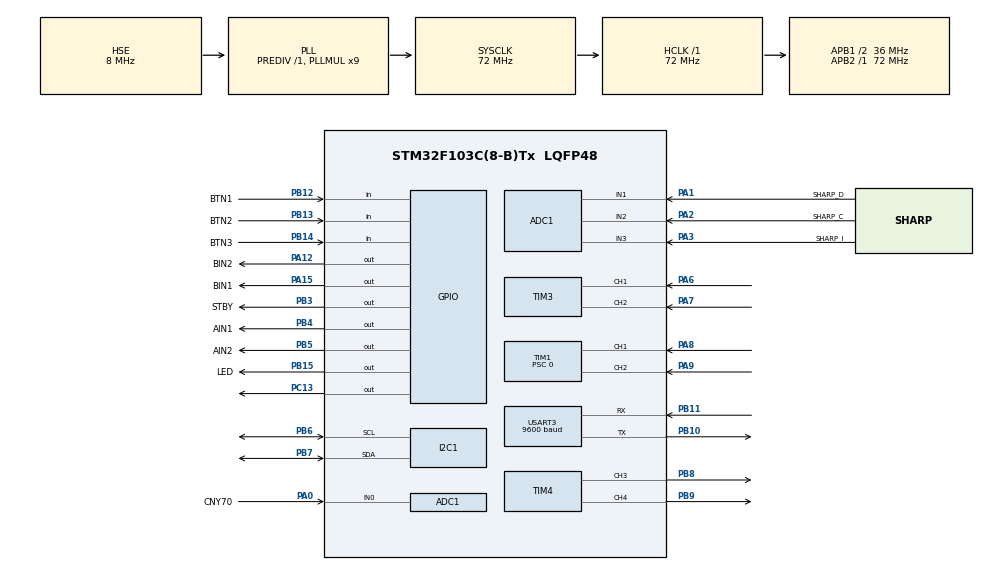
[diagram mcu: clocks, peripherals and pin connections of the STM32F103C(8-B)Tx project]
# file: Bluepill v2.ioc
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ADC1.Channel-0\#ChannelRegularConversion=ADC_CHANNEL_0
ADC1.Channel-1\#ChannelRegularConversion=ADC_CHANNEL_1
ADC1.Channel-2\#ChannelRegularConversion=ADC_CHANNEL_2
ADC1.Channel-3\#ChannelRegularConversion=ADC_CHANNEL_3
ADC1.ContinuousConvMode=ENABLE
ADC1.NbrOfConversion=4
ADC1.NbrOfConversionFlag=1
ADC1.Rank-0\#ChannelRegularConversion=1
ADC1.Rank-1\#ChannelRegularConversion=2
ADC1.Rank-2\#ChannelRegularConversion=3
ADC1.Rank-3\#ChannelRegularConversion=4
ADC1.SamplingTime-0\#ChannelRegularConversion=ADC_SAMPLETIME_1CYCLE_5
ADC1.SamplingTime-1\#ChannelRegularConversion=ADC_SAMPLETIME_1CYCLE_5
ADC1.SamplingTime-2\#ChannelRegularConversion=ADC_SAMPLETIME_1CYCLE_5
ADC1.SamplingTime-3\#ChannelRegularConversion=ADC_SAMPLETIME_1CYCLE_5
ADC1.master=1
Dma.ADC1.0.Direction=DMA_PERIPH_TO_MEMORY
Dma.ADC1.0.Instance=DMA1_Channel1
Dma.ADC1.0.MemDataAlignment=DMA_MDATAALIGN_WORD
Dma.ADC1.0.MemInc=DMA_MINC_ENABLE
Dma.ADC1.0.Mode=DMA_CIRCULAR
Dma.ADC1.0.PeriphDataAlignment=DMA_PDATAALIGN_WORD
Dma.ADC1.0.PeriphInc=DMA_PINC_DISABLE
Dma.ADC1.0.Priority=DMA_PRIORITY_LOW
Dma.Request0=ADC1
I2C1.I2C_Mode=I2C_Standard
Mcu.Family=STM32F1
Mcu.Name=STM32F103C(8-B)Tx
Mcu.Package=LQFP48
NVIC.DMA1_Channel1_IRQn=true\:0\:0\:false\:false\:true\:false\:true\:true
NVIC.PriorityGroup=NVIC_PRIORITYGROUP_4
PA0-WKUP.GPIO_Label=CNY70
PA0-WKUP.Signal=ADCx_IN0
PA1.GPIO_Label=SHARP_D
PA1.Signal=ADCx_IN1
PA12.GPIO_Label=BIN2
PA12.Signal=GPIO_Output
PA13.Mode=Serial_Wire
PA13.Signal=SYS_JTMS-SWDIO
PA14.Mode=Serial_Wire
PA14.Signal=SYS_JTCK-SWCLK
PA15.GPIO_Label=BIN1
PA15.Signal=GPIO_Output
PA2.GPIO_Label=SHARP_C
PA2.Signal=ADCx_IN2
PA3.GPIO_Label=SHARP_I
PA3.Signal=ADCx_IN3
PA6.Signal=S_TIM3_CH1
PA7.Signal=S_TIM3_CH2
PA8.Signal=S_TIM1_CH1
PA9.Signal=S_TIM1_CH2
PB10.Mode=Asynchronous
PB10.Signal=USART3_TX
PB11.Mode=Asynchronous
PB11.Signal=USART3_RX
PB12.GPIO_Label=BTN1
PB12.GPIO_PuPd=GPIO_PULLUP
PB12.Signal=GPIO_Input
PB13.GPIO_Label=BTN2
PB13.GPIO_PuPd=GPIO_PULLUP
PB13.Signal=GPIO_Input
PB14.GPIO_Label=BTN3
PB14.GPIO_PuPd=GPIO_PULLUP
PB14.Signal=GPIO_Input
PB15.GPIO_Label=LED
PB15.Signal=GPIO_Output
PB3.GPIO_Label=STBY
PB3.Signal=GPIO_Output
PB4.GPIO_Label=AIN1
PB4.Signal=GPIO_Output
PB5.GPIO_Label=AIN2
PB5.Signal=GPIO_Output
PB6.Mode=I2C
PB6.Signal=I2C1_SCL
PB7.Mode=I2C
PB7.Signal=I2C1_SDA
PB8.Signal=S_TIM4_CH3
PB9.Signal=S_TIM4_CH4
PC13-TAMPER-RTC.Signal=GPIO_Output
PD0-OSC_IN.Mode=HSE-External-Oscillator
PD0-OSC_IN.Signal=RCC_OSC_IN
PD1-OSC_OUT.Mode=HSE-External-Oscillator
PD1-OSC_OUT.Signal=RCC_OSC_OUT
ProjectManager.HeapSize=0x200
ProjectManager.StackSize=0x400
ProjectManager.TargetToolchain=STM32CubeIDE
RCC.ADCPresc=RCC_ADCPCLK2_DIV6
RCC.AHBFreq_Value=72000000
RCC.APB1CLKDivider=RCC_HCLK_DIV2
RCC.APB1Freq_Value=36000000
RCC.APB1TimFreq_Value=72000000
RCC.APB2Freq_Value=72000000
RCC.APB2TimFreq_Value=72000000
RCC.HCLKFreq_Value=72000000
RCC.PLLMUL=RCC_PLL_MUL9
RCC.PLLSourceVirtual=RCC_PLLSOURCE_HSE
RCC.SYSCLKFreq_VALUE=72000000
RCC.SYSCLKSource=RCC_SYSCLKSOURCE_PLLCLK
RCC.USBFreq_Value=72000000
SH.ADCx_IN0.0=ADC1_IN0,IN0
SH.ADCx_IN1.0=ADC1_IN1,IN1
SH.ADCx_IN2.0=ADC1_IN2,IN2
SH.ADCx_IN3.0=ADC1_IN3,IN3
SH.S_TIM1_CH1.0=TIM1_CH1,Encoder_Interface
SH.S_TIM1_CH2.0=TIM1_CH2,Encoder_Interface
SH.S_TIM3_CH1.0=TIM3_CH1,Encoder_Interface
SH.S_TIM3_CH2.0=TIM3_CH2,Encoder_Interface
SH.S_TIM4_CH3.0=TIM4_CH3,PWM Generation3 CH3
SH.S_TIM4_CH4.0=TIM4_CH4,PWM Generation4 CH4
TIM1.AutoReloadPreload=TIM_AUTORELOAD_PRELOAD_ENABLE
TIM1.ClockDivision=TIM_CLOCKDIVISION_DIV1
TIM1.CounterMode=TIM_COUNTERMODE_UP
TIM1.EncoderMode=TIM_ENCODERMODE_TI12
TIM1.IC1Filter=10
TIM1.IC2Filter=10
TIM1.Prescaler=0
TIM3.AutoReloadPreload=TIM_AUTORELOAD_PRELOAD_ENABLE
TIM3.EncoderMode=TIM_ENCODERMODE_TI12
TIM3.IC1Filter=10
TIM4.Channel-PWM\ Generation3\ CH3=TIM_CHANNEL_3
TIM4.Channel-PWM\ Generation4\ CH4=TIM_CHANNEL_4
USART3.BaudRate=9600
USART3.Mode=MODE_TX_RX
USART3.VirtualMode=VM_ASYNC
VP_TIM4_VS_ClockSourceINT.Mode=Internal
board=custom

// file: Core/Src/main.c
/* USER CODE BEGIN Header */
/**
 ******************************************************************************
 * @file           : main.c
 * @brief          : Main program body
 ******************************************************************************
 * @attention
 *
 * Copyright (c) 2022 STMicroelectronics.
 * All rights reserved.
 *
 * This software is licensed under terms that can be found in the LICENSE file
 * in the root directory of this software component.
 * If no LICENSE file comes with this software, it is provided AS-IS.
 *
 ******************************************************************************
 */
/* USER CODE END Header */
#include "main.h"

/* USER CODE BEGIN Includes */

#include "sharp.h"
#include "motors.h"
#include "stdlib.h"
#include "string.h"
#include "stdio.h"
#include "math.h"
#include <float.h>
#include <string.h>
#include "FLASH_PAGE_F1.h"
#include "HMC5883L.h"
#include "nodeControl.h"
#include "movementControl.h"
#include "velocityControl.h"
/* USER CODE END Includes */

/* USER CODE BEGIN PD */
#define ADC_BUF_LEN 1024
#define FLASH_STORAGE_M 0x08005000
#define FLASH_STORAGE_Q 0x08005500
#define page_size 0x800
/* USER CODE END PD */

ADC_HandleTypeDef hadc1;
DMA_HandleTypeDef hdma_adc1;

I2C_HandleTypeDef hi2c1;

TIM_HandleTypeDef htim1;
TIM_HandleTypeDef htim3;
TIM_HandleTypeDef htim4;

UART_HandleTypeDef huart3;

/* USER CODE BEGIN PV */
//MPU6050_t MPU6050;
uint32_t adc_buf[ADC_BUF_LEN];
uint32_t CNY70[ADC_BUF_LEN / 4];
uint32_t SHARP_1[ADC_BUF_LEN / 4];
uint32_t SHARP_2[ADC_BUF_LEN / 4];
uint32_t SHARP_3[ADC_BUF_LEN / 4];
float Sensors[4];
int direcciones[4];
uint8_t serialBuf[100];
/* USER CODE END PV */

void SystemClock_Config(void);
static void MX_GPIO_Init(void);
static void MX_DMA_Init(void);
static void MX_ADC1_Init(void);
static void MX_TIM1_Init(void);
static void MX_TIM3_Init(void);
static void MX_TIM4_Init(void);
static void MX_USART3_UART_Init(void);
static void MX_I2C1_Init(void);

/* USER CODE BEGIN 0 */

float KPTchoice[] = { 5, 80 }; //10 // subi este que es el de la velocidad que agarra y baja el A para que corrija mejor
float KDTchoice[] = { 1, 4 }; //0.5
float KPAchoice[] = { 7, 80 }; //17
float KDAchoice[] = { 0.5, 4 }; //0.5
float KPPchoice[] = { 2, 80, 40, 10 }; //17
float KDPchoice[] = { 0, 4, 0.5, 1, 0.5 }; //0.5
float velocityChoice[] = { 1000, 1000 };
int baseChoice[] = { 20000, 20000 }; //150
int forwardChoice[] = { 230, 250 };
int RightChoice[] = { 90, 155 };
int LeftChoice[] = { 90, 155 };
int choice;
int ticksNow;
float ppitch;
float pyaw;
float proll;
float CenterDistanceRight, CenterDistanceLeft, MaxRightDistance,
		MaxLeftDistance, MaxCenterDistance;
int calState;
int powerA;
int powerB;
int ticks, lecturaBtn;
uint8_t RX_BUFFER[1] = { 0 };
uint8_t TX_BUFFER[12] = { 0, 0, 0, 0, 0, 0, 0, 0, 0, 0, 0, 0 };

int c, m, directionsSize, movimiento;
int finishFlag, movimientoFlag;
int valueCNY;
int direcciones[4];

int counter;
int tick;
button btns[CANT_BTN];
float maxDistance[3];

int q = 1;

int mainState = SETUP;
int robotState = READING;
int movementState = OFF;
char directions[25];
uint32_t Rx_Data[26];
char string[100];
int directionsSize;
Position actual;
Position last;
Node Map[alto][ancho];
float tiempoDelay;
float KPT, KDT, KPA, KDA, KPP, KDP;
float velocity;
int t, StraightFlag, xSpeed;
int objectiveDistance, direction, acelerationObjective, aceleration;

/*Position visual;
 Node VisualMap[ALTO][ANCHO];*/

/* USER CODE END 0 */

int main(void)
{

  /* MCU Configuration--------------------------------------------------------*/

  /* Reset of all peripherals, Initializes the Flash interface and the Systick. */
  HAL_Init();

  /* Configure the system clock */
  SystemClock_Config();

  /* Initialize all configured peripherals */
  MX_GPIO_Init();
  MX_DMA_Init();
  MX_ADC1_Init();
  MX_TIM1_Init();
  MX_TIM3_Init();
  MX_TIM4_Init();
  MX_USART3_UART_Init();
  MX_I2C1_Init();
  /* USER CODE BEGIN 2 */
	btns[0].Port = BTN1_GPIO_Port;
	btns[0].pin = BTN1_Pin;
	btns[0].estado = ESPERA;
	btns[0].flag = 0;
	btns[1].Port = BTN2_GPIO_Port;
	btns[1].pin = BTN2_Pin;
	btns[1].estado = ESPERA;
	btns[1].flag = 0;
	btns[2].Port = BTN3_GPIO_Port;
	btns[2].pin = BTN3_Pin;
	btns[2].estado = ESPERA;
	btns[2].flag = 0;
	HAL_TIM_PWM_Start(&htim4, TIM_CHANNEL_3);
	HAL_TIM_PWM_Start(&htim4, TIM_CHANNEL_4);
	HAL_TIM_Encoder_Start(&htim1, TIM_CHANNEL_ALL);
	HAL_TIM_Encoder_Start(&htim3, TIM_CHANNEL_ALL);
	HAL_GPIO_WritePin(STBY, GPIO_PIN_SET);
	TIM4->CCR3 = 10000;
	TIM4->CCR4 = 10000;
	xSpeed = 15000;
	HAL_ADC_Start_DMA(&hadc1, (uint32_t*) adc_buf, ADC_BUF_LEN);
	HAL_GPIO_WritePin(GPIOB, GPIO_PIN_15, 0);
	TIM3->CNT = 100;
	TIM1->CNT = 100;
	offset = 25.1;
	HAL_GPIO_WritePin(GPIOB, GPIO_PIN_15, 0);
	/*I2Cdev_init(&hi2c1);
	 HMC5883L_initialize();
	 while(HMC5883L_testConnection() == 0){

	 }*/

  /* USER CODE END 2 */

  /* Infinite loop */
	while (1) {

    /* USER CODE BEGIN 3 */
		mainMachine();

		//intUartSend(calcularDistancia(TIM1->CNT)-calcularDistancia(TIM3->CNT));
		/*choice = SLOW;
		 velocity = velocityChoice[SLOW];
		 TIM2->CCR3 = baseChoice[SLOW];
		 TIM2->CCR4 = baseChoice[SLOW];
		 KPT = KPTchoice[SLOW];
		 KDT = KDTchoice[SLOW];
		 KPA = KPAchoice[SLOW];
		 KDA = KDAchoice[SLOW];
		 KPP = KPPchoice[SLOW];
		 KDP = KDPchoice[SLOW];*/
		//moveStraight();
		//movementMachine(ADELANTE);
		/*if(ticksNow + 100 < HAL_GetTick()){
		 intUartSend(HMC5883L_getHeadingZ());
		 ticksNow = HAL_GetTick();
		 }*/
		//intUartSend(TIM1->CNT);
		/*runMotor(ADELANTE, MOTOR_A);
		 runMotor(ADELANTE, MOTOR_B);*/
		btnMachine(0);
		btnMachine(1);
		btnMachine(2);
	}
  /* USER CODE END 3 */
}

void SystemClock_Config(void)
{
  RCC_OscInitTypeDef RCC_OscInitStruct = {0};
  RCC_ClkInitTypeDef RCC_ClkInitStruct = {0};
  RCC_PeriphCLKInitTypeDef PeriphClkInit = {0};

  /** Initializes the RCC Oscillators according to the specified parameters
  * in the RCC_OscInitTypeDef structure.
  */
  RCC_OscInitStruct.OscillatorType = RCC_OSCILLATORTYPE_HSE;
  RCC_OscInitStruct.HSEState = RCC_HSE_ON;
  RCC_OscInitStruct.HSEPredivValue = RCC_HSE_PREDIV_DIV1;
  RCC_OscInitStruct.HSIState = RCC_HSI_ON;
  RCC_OscInitStruct.PLL.PLLState = RCC_PLL_ON;
  RCC_OscInitStruct.PLL.PLLSource = RCC_PLLSOURCE_HSE;
  RCC_OscInitStruct.PLL.PLLMUL = RCC_PLL_MUL9;
  if (HAL_RCC_OscConfig(&RCC_OscInitStruct) != HAL_OK)
  {
    Error_Handler();
  }

  /** Initializes the CPU, AHB and APB buses clocks
  */
  RCC_ClkInitStruct.ClockType = RCC_CLOCKTYPE_HCLK|RCC_CLOCKTYPE_SYSCLK
                              |RCC_CLOCKTYPE_PCLK1|RCC_CLOCKTYPE_PCLK2;
  RCC_ClkInitStruct.SYSCLKSource = RCC_SYSCLKSOURCE_PLLCLK;
  RCC_ClkInitStruct.AHBCLKDivider = RCC_SYSCLK_DIV1;
  RCC_ClkInitStruct.APB1CLKDivider = RCC_HCLK_DIV2;
  RCC_ClkInitStruct.APB2CLKDivider = RCC_HCLK_DIV1;

  if (HAL_RCC_ClockConfig(&RCC_ClkInitStruct, FLASH_LATENCY_2) != HAL_OK)
  {
    Error_Handler();
  }
  PeriphClkInit.PeriphClockSelection = RCC_PERIPHCLK_ADC;
  PeriphClkInit.AdcClockSelection = RCC_ADCPCLK2_DIV6;
  if (HAL_RCCEx_PeriphCLKConfig(&PeriphClkInit) != HAL_OK)
  {
    Error_Handler();
  }
}

static void MX_ADC1_Init(void)
{

  ADC_ChannelConfTypeDef sConfig = {0};

  /** Common config
  */
  hadc1.Instance = ADC1;
  hadc1.Init.ScanConvMode = ADC_SCAN_ENABLE;
  hadc1.Init.ContinuousConvMode = ENABLE;
  hadc1.Init.DiscontinuousConvMode = DISABLE;
  hadc1.Init.ExternalTrigConv = ADC_SOFTWARE_START;
  hadc1.Init.DataAlign = ADC_DATAALIGN_RIGHT;
  hadc1.Init.NbrOfConversion = 4;
  if (HAL_ADC_Init(&hadc1) != HAL_OK)
  {
    Error_Handler();
  }

  /** Configure Regular Channel
  */
  sConfig.Channel = ADC_CHANNEL_0;
  sConfig.Rank = ADC_REGULAR_RANK_1;
  sConfig.SamplingTime = ADC_SAMPLETIME_1CYCLE_5;
  if (HAL_ADC_ConfigChannel(&hadc1, &sConfig) != HAL_OK)
  {
    Error_Handler();
  }

  /** Configure Regular Channel
  */
  sConfig.Channel = ADC_CHANNEL_1;
  sConfig.Rank = ADC_REGULAR_RANK_2;
  if (HAL_ADC_ConfigChannel(&hadc1, &sConfig) != HAL_OK)
  {
    Error_Handler();
  }

  /** Configure Regular Channel
  */
  sConfig.Channel = ADC_CHANNEL_2;
  sConfig.Rank = ADC_REGULAR_RANK_3;
  if (HAL_ADC_ConfigChannel(&hadc1, &sConfig) != HAL_OK)
  {
    Error_Handler();
  }

  /** Configure Regular Channel
  */
  sConfig.Channel = ADC_CHANNEL_3;
  sConfig.Rank = ADC_REGULAR_RANK_4;
  if (HAL_ADC_ConfigChannel(&hadc1, &sConfig) != HAL_OK)
  {
    Error_Handler();
  }

}

static void MX_I2C1_Init(void)
{

  hi2c1.Instance = I2C1;
  hi2c1.Init.ClockSpeed = 100000;
  hi2c1.Init.DutyCycle = I2C_DUTYCYCLE_2;
  hi2c1.Init.OwnAddress1 = 0;
  hi2c1.Init.AddressingMode = I2C_ADDRESSINGMODE_7BIT;
  hi2c1.Init.DualAddressMode = I2C_DUALADDRESS_DISABLE;
  hi2c1.Init.OwnAddress2 = 0;
  hi2c1.Init.GeneralCallMode = I2C_GENERALCALL_DISABLE;
  hi2c1.Init.NoStretchMode = I2C_NOSTRETCH_DISABLE;
  if (HAL_I2C_Init(&hi2c1) != HAL_OK)
  {
    Error_Handler();
  }

}

static void MX_TIM1_Init(void)
{

  TIM_Encoder_InitTypeDef sConfig = {0};
  TIM_MasterConfigTypeDef sMasterConfig = {0};

  htim1.Instance = TIM1;
  htim1.Init.Prescaler = 0;
  htim1.Init.CounterMode = TIM_COUNTERMODE_UP;
  htim1.Init.Period = 65535;
  htim1.Init.ClockDivision = TIM_CLOCKDIVISION_DIV1;
  htim1.Init.RepetitionCounter = 0;
  htim1.Init.AutoReloadPreload = TIM_AUTORELOAD_PRELOAD_ENABLE;
  sConfig.EncoderMode = TIM_ENCODERMODE_TI12;
  sConfig.IC1Polarity = TIM_ICPOLARITY_RISING;
  sConfig.IC1Selection = TIM_ICSELECTION_DIRECTTI;
  sConfig.IC1Prescaler = TIM_ICPSC_DIV1;
  sConfig.IC1Filter = 10;
  sConfig.IC2Polarity = TIM_ICPOLARITY_RISING;
  sConfig.IC2Selection = TIM_ICSELECTION_DIRECTTI;
  sConfig.IC2Prescaler = TIM_ICPSC_DIV1;
  sConfig.IC2Filter = 10;
  if (HAL_TIM_Encoder_Init(&htim1, &sConfig) != HAL_OK)
  {
    Error_Handler();
  }
  sMasterConfig.MasterOutputTrigger = TIM_TRGO_RESET;
  sMasterConfig.MasterSlaveMode = TIM_MASTERSLAVEMODE_DISABLE;
  if (HAL_TIMEx_MasterConfigSynchronization(&htim1, &sMasterConfig) != HAL_OK)
  {
    Error_Handler();
  }

}

static void MX_TIM3_Init(void)
{

  TIM_Encoder_InitTypeDef sConfig = {0};
  TIM_MasterConfigTypeDef sMasterConfig = {0};

  htim3.Instance = TIM3;
  htim3.Init.Prescaler = 0;
  htim3.Init.CounterMode = TIM_COUNTERMODE_UP;
  htim3.Init.Period = 65535;
  htim3.Init.ClockDivision = TIM_CLOCKDIVISION_DIV1;
  htim3.Init.AutoReloadPreload = TIM_AUTORELOAD_PRELOAD_ENABLE;
  sConfig.EncoderMode = TIM_ENCODERMODE_TI12;
  sConfig.IC1Polarity = TIM_ICPOLARITY_RISING;
  sConfig.IC1Selection = TIM_ICSELECTION_DIRECTTI;
  sConfig.IC1Prescaler = TIM_ICPSC_DIV1;
  sConfig.IC1Filter = 10;
  sConfig.IC2Polarity = TIM_ICPOLARITY_RISING;
  sConfig.IC2Selection = TIM_ICSELECTION_DIRECTTI;
  sConfig.IC2Prescaler = TIM_ICPSC_DIV1;
  sConfig.IC2Filter = 0;
  if (HAL_TIM_Encoder_Init(&htim3, &sConfig) != HAL_OK)
  {
    Error_Handler();
  }
  sMasterConfig.MasterOutputTrigger = TIM_TRGO_RESET;
  sMasterConfig.MasterSlaveMode = TIM_MASTERSLAVEMODE_DISABLE;
  if (HAL_TIMEx_MasterConfigSynchronization(&htim3, &sMasterConfig) != HAL_OK)
  {
    Error_Handler();
  }

}

static void MX_TIM4_Init(void)
{

  TIM_ClockConfigTypeDef sClockSourceConfig = {0};
  TIM_MasterConfigTypeDef sMasterConfig = {0};
  TIM_OC_InitTypeDef sConfigOC = {0};

  htim4.Instance = TIM4;
  htim4.Init.Prescaler = 0;
  htim4.Init.CounterMode = TIM_COUNTERMODE_UP;
  htim4.Init.Period = 65535;
  htim4.Init.ClockDivision = TIM_CLOCKDIVISION_DIV1;
  htim4.Init.AutoReloadPreload = TIM_AUTORELOAD_PRELOAD_DISABLE;
  if (HAL_TIM_Base_Init(&htim4) != HAL_OK)
  {
    Error_Handler();
  }
  sClockSourceConfig.ClockSource = TIM_CLOCKSOURCE_INTERNAL;
  if (HAL_TIM_ConfigClockSource(&htim4, &sClockSourceConfig) != HAL_OK)
  {
    Error_Handler();
  }
  if (HAL_TIM_PWM_Init(&htim4) != HAL_OK)
  {
    Error_Handler();
  }
  sMasterConfig.MasterOutputTrigger = TIM_TRGO_RESET;
  sMasterConfig.MasterSlaveMode = TIM_MASTERSLAVEMODE_DISABLE;
  if (HAL_TIMEx_MasterConfigSynchronization(&htim4, &sMasterConfig) != HAL_OK)
  {
    Error_Handler();
  }
  sConfigOC.OCMode = TIM_OCMODE_PWM1;
  sConfigOC.Pulse = 0;
  sConfigOC.OCPolarity = TIM_OCPOLARITY_HIGH;
  sConfigOC.OCFastMode = TIM_OCFAST_DISABLE;
  if (HAL_TIM_PWM_ConfigChannel(&htim4, &sConfigOC, TIM_CHANNEL_3) != HAL_OK)
  {
    Error_Handler();
  }
  if (HAL_TIM_PWM_ConfigChannel(&htim4, &sConfigOC, TIM_CHANNEL_4) != HAL_OK)
  {
    Error_Handler();
  }
  HAL_TIM_MspPostInit(&htim4);

}

static void MX_USART3_UART_Init(void)
{

  huart3.Instance = USART3;
  huart3.Init.BaudRate = 9600;
  huart3.Init.WordLength = UART_WORDLENGTH_8B;
  huart3.Init.StopBits = UART_STOPBITS_1;
  huart3.Init.Parity = UART_PARITY_NONE;
  huart3.Init.Mode = UART_MODE_TX_RX;
  huart3.Init.HwFlowCtl = UART_HWCONTROL_NONE;
  huart3.Init.OverSampling = UART_OVERSAMPLING_16;
  if (HAL_UART_Init(&huart3) != HAL_OK)
  {
    Error_Handler();
  }

}

static void MX_DMA_Init(void)
{

  /* DMA controller clock enable */
  __HAL_RCC_DMA1_CLK_ENABLE();

  /* DMA interrupt init */
  /* DMA1_Channel1_IRQn interrupt configuration */
  HAL_NVIC_SetPriority(DMA1_Channel1_IRQn, 0, 0);
  HAL_NVIC_EnableIRQ(DMA1_Channel1_IRQn);

}

static void MX_GPIO_Init(void)
{
  GPIO_InitTypeDef GPIO_InitStruct = {0};

  /* GPIO Ports Clock Enable */
  __HAL_RCC_GPIOC_CLK_ENABLE();
  __HAL_RCC_GPIOD_CLK_ENABLE();
  __HAL_RCC_GPIOA_CLK_ENABLE();
  __HAL_RCC_GPIOB_CLK_ENABLE();

  /*Configure GPIO pin Output Level */
  HAL_GPIO_WritePin(GPIOC, GPIO_PIN_13, GPIO_PIN_RESET);

  /*Configure GPIO pin Output Level */
  HAL_GPIO_WritePin(GPIOB, LED_Pin|STBY_Pin|AIN1_Pin|AIN2_Pin, GPIO_PIN_RESET);

  /*Configure GPIO pin Output Level */
  HAL_GPIO_WritePin(GPIOA, BIN2_Pin|BIN1_Pin, GPIO_PIN_RESET);

  /*Configure GPIO pin : PC13 */
  GPIO_InitStruct.Pin = GPIO_PIN_13;
  GPIO_InitStruct.Mode = GPIO_MODE_OUTPUT_PP;
  GPIO_InitStruct.Pull = GPIO_NOPULL;
  GPIO_InitStruct.Speed = GPIO_SPEED_FREQ_LOW;
  HAL_GPIO_Init(GPIOC, &GPIO_InitStruct);

  /*Configure GPIO pins : BTN1_Pin BTN2_Pin BTN3_Pin */
  GPIO_InitStruct.Pin = BTN1_Pin|BTN2_Pin|BTN3_Pin;
  GPIO_InitStruct.Mode = GPIO_MODE_INPUT;
  GPIO_InitStruct.Pull = GPIO_PULLUP;
  HAL_GPIO_Init(GPIOB, &GPIO_InitStruct);

  /*Configure GPIO pins : LED_Pin STBY_Pin AIN1_Pin AIN2_Pin */
  GPIO_InitStruct.Pin = LED_Pin|STBY_Pin|AIN1_Pin|AIN2_Pin;
  GPIO_InitStruct.Mode = GPIO_MODE_OUTPUT_PP;
  GPIO_InitStruct.Pull = GPIO_NOPULL;
  GPIO_InitStruct.Speed = GPIO_SPEED_FREQ_LOW;
  HAL_GPIO_Init(GPIOB, &GPIO_InitStruct);

  /*Configure GPIO pins : BIN2_Pin BIN1_Pin */
  GPIO_InitStruct.Pin = BIN2_Pin|BIN1_Pin;
  GPIO_InitStruct.Mode = GPIO_MODE_OUTPUT_PP;
  GPIO_InitStruct.Pull = GPIO_NOPULL;
  GPIO_InitStruct.Speed = GPIO_SPEED_FREQ_LOW;
  HAL_GPIO_Init(GPIOA, &GPIO_InitStruct);

}

/* USER CODE BEGIN 4 */

void intUartSend(float entero) {

	int m;
	int c;
	int d;
	int u;
	int de1;
	int de2;

	m = abs(entero / 1000);
	c = abs(entero / 100) - m * 10;
	d = abs(entero / 10) - (m * 100 + c * 10);
	u = abs(entero) - (m * 1000 + c * 100 + d * 10);
	if (entero > 0) {
		de1 = (entero - (m * 1000 + c * 100 + d * 10 + u)) * 10;
		de2 = (entero - (m * 1000 + c * 100 + d * 10 + u + de1 * 0.1)) * 100;
		TX_BUFFER[0] = m + '0';
		TX_BUFFER[1] = c + '0';
		TX_BUFFER[2] = d + '0';
		TX_BUFFER[3] = u + '0';
		TX_BUFFER[4] = ',';
		TX_BUFFER[5] = de1 + '0';
		TX_BUFFER[6] = de2 + '0';
		TX_BUFFER[7] = '\n';
		HAL_UART_Transmit(&huart3, TX_BUFFER, 8, 100);
	} else {
		de1 = ((-(entero)) - (m * 1000 + c * 100 + d * 10 + u)) * 10;
		de2 = ((-(entero)) - (m * 1000 + c * 100 + d * 10 + u + de1 * 0.1))
				* 100;
		TX_BUFFER[0] = '-';
		TX_BUFFER[1] = m + '0';
		TX_BUFFER[2] = c + '0';
		TX_BUFFER[3] = d + '0';
		TX_BUFFER[4] = u + '0';
		TX_BUFFER[5] = ',';
		TX_BUFFER[6] = de1 + '0';
		TX_BUFFER[7] = de2 + '0';
		TX_BUFFER[8] = '\n';
		HAL_UART_Transmit(&huart3, TX_BUFFER, 9, 100);
	}

	/*TX_BUFFER[0] = m + '0';
	 TX_BUFFER[1] = c + '0';
	 TX_BUFFER[2] = d + '0';
	 TX_BUFFER[3] = u + '0';
	 TX_BUFFER[4] = ',';
	 TX_BUFFER[5] = de1 + '0';
	 TX_BUFFER[6] = de2 + '0';
	 TX_BUFFER[7] = '\n';
	 HAL_UART_Transmit(&huart3, TX_BUFFER, 8, 100);*/
}

void mainMachine() {
	switch (mainState) {
	case SETUP:
		actual.x = ALTO;
		actual.y = ANCHO;
		/*visual.x = 0;
		 visual.y = 0;*/
		resetAxis(direcciones);
		movimientoFlag = 0;
		finishFlag = 0;
		/*if (Sensors[1] - Sensors[3] < 0.5 && Sensors[1] - Sensors[3] > -0.5) {
		 HAL_GPIO_WritePin(GPIOB, GPIO_PIN_15, GPIO_PIN_RESET);
		 } else {
		 HAL_GPIO_WritePin(GPIOB, GPIO_PIN_15, GPIO_PIN_SET);
		 }*/
		if (btns[0].flag == 1) {
			// Set The LED ON!
			HAL_GPIO_WritePin(GPIOB, GPIO_PIN_15, GPIO_PIN_RESET);
			choice = SLOW;
			velocity = velocityChoice[SLOW];
			TIM2->CCR3 = baseChoice[SLOW];
			TIM2->CCR4 = baseChoice[SLOW];
			KPT = KPTchoice[SLOW];
			KDT = KDTchoice[SLOW];
			KPA = KPAchoice[SLOW];
			KDA = KDAchoice[SLOW];
			KPP = KPPchoice[SLOW];
			KDP = KDPchoice[SLOW];
			if (t == 0) {
				mainState = CALIBRATE;
				t++;
			} else {
				mainState = MAPPING;
			}

		}
		if (btns[1].flag == 1) {
			// Set The LED ON!
			choice = FAST;
			velocity = velocityChoice[FAST];
			TIM2->CCR3 = baseChoice[FAST];
			TIM2->CCR4 = baseChoice[FAST];
			KPT = KPTchoice[FAST];
			KDT = KDTchoice[FAST];
			KPA = KPAchoice[FAST];
			KDA = KDAchoice[FAST];
			KPP = KPPchoice[FAST];
			KDP = KDPchoice[FAST];
			mainState = RACING;
			Flash_Read_Data(0x0801FC00, Rx_Data, 2);
			Convert_To_Str(Rx_Data, string);
			//directions = ReadRun();
			//ShowRun();
		}
		if (btns[2].flag == 1) {
			// Set The LED ON!
			HAL_GPIO_WritePin(GPIOC, GPIO_PIN_13, GPIO_PIN_RESET);
			choice = FAST;
			velocity = velocityChoice[FAST];
			TIM2->CCR3 = baseChoice[FAST];
			TIM2->CCR4 = baseChoice[FAST];
			KPT = KPTchoice[FAST];
			KDT = KDTchoice[FAST];
			KPA = KPAchoice[FAST];
			KDA = KDAchoice[FAST];
			KPP = KPPchoice[FAST];
			KDP = KDPchoice[FAST];
			if (t == 0) {
				mainState = CALIBRATE;
				t++;
			} else {
				mainState = MAPPING;
			}
		}
		//confirmacionCentrado();
		break;
	case CALIBRATE:
		calibrateMachine();
		//HAL_GPIO_WritePin(GPIOC, GPIO_PIN_13, GPIO_PIN_RESET);
		break;
	case MAPPING:
		if (finishFlag == 0) {
			robotMachine();
			/*TX_BUFFER[0] = 'L';
			 HAL_UART_Transmit(&huart1, TX_BUFFER, sizeof(TX_BUFFER), 100);*/
		} else {
			TX_BUFFER[0] = 'X';
			HAL_UART_Transmit(&huart3, TX_BUFFER, 1, 100);
			intUartSend(actual.x);
			TX_BUFFER[0] = 'Y';
			HAL_UART_Transmit(&huart3, TX_BUFFER, 1, 100);
			intUartSend(actual.y);
			actual.x = ALTO;
			actual.y = ANCHO;
			//visual.x = 0;
			//visual.y = 0;
			finishFlag = 0;
			resetAxis(direcciones);
			PrintMap();
			mainState = RESOLUTION;
		}
		break;
	case RESOLUTION:
		if (Map[actual.x][actual.y].final == 0) {
			addDirection(actual.x, actual.y);
			TX_BUFFER[0] = 'X';
			HAL_UART_Transmit(&huart3, TX_BUFFER, 1, 100);
			intUartSend(actual.x);
			TX_BUFFER[0] = 'Y';
			HAL_UART_Transmit(&huart3, TX_BUFFER, 1, 100);
			intUartSend(actual.y);
		} else {
			//directions = optimizeDirections(directions);
			//SerialBT.println(directions);
			// UploadRun(directions);
			directions[directionsSize] = 'o';
			Flash_Write_Data(0x0801FC00, (uint32_t*) directions, 25);
			mainState = SETUP;
		}

		break;
	case RACING:
		runDirections(string);
		break;
	}

}

void calibrateMachine() {
	switch (calState) {
	case CENTER:
		intUartSend(Sensors[1] - Sensors[3]);
		HAL_GPIO_WritePin(GPIOC, GPIO_PIN_13, GPIO_PIN_SET);
		if (Sensors[1] - Sensors[3] < 0.5 && Sensors[1] - Sensors[3] > -0.5) {
			HAL_GPIO_WritePin(GPIOC, GPIO_PIN_13, GPIO_PIN_RESET);
			if (btns[0].flag == 1) {
				CenterDistanceRight = Sensors[3];
				CenterDistanceLeft = Sensors[1];
				calState = LEFT;
			}
		}
		/*runMotor(ADELANTE, MOTOR_A);
		 runMotor(ADELANTE, MOTOR_B);
		 StraightFlag = 1;*/
		break;
	case LEFT:
		intUartSend((Sensors[3]));
		HAL_GPIO_WritePin(GPIOC, GPIO_PIN_13, GPIO_PIN_SET);
		if (btns[0].flag == 1) {
			HAL_GPIO_WritePin(GPIOC, GPIO_PIN_13, GPIO_PIN_RESET);
			maxDistance[1] = Sensors[3] + 2;
			calState = RIGHT;
		}
		break;
	case RIGHT:
		intUartSend((Sensors[1]));
		HAL_GPIO_WritePin(GPIOC, GPIO_PIN_13, GPIO_PIN_SET);
		if (btns[0].flag == 1) {
			HAL_GPIO_WritePin(GPIOC, GPIO_PIN_13, GPIO_PIN_RESET);
			maxDistance[2] = Sensors[1] + 2;
			calState = FORWARD;
		}
		break;
	case FORWARD:
		intUartSend((Sensors[2]));
		HAL_GPIO_WritePin(GPIOC, GPIO_PIN_13, GPIO_PIN_SET);
		if (btns[0].flag == 1) {
			HAL_GPIO_WritePin(GPIOC, GPIO_PIN_13, GPIO_PIN_RESET);
			maxDistance[0] = Sensors[2];
			mainState = SETUP;
			calState = CENTER;
		}
		break;
	}
}

void robotMachine() {
	switch (robotState) {
	case READING:
		//HAL_Delay(10);
		TX_BUFFER[0] = 'X';
		TX_BUFFER[1] = actual.x + '0';
		TX_BUFFER[2] = '\n';
		TX_BUFFER[3] = 'Y';
		TX_BUFFER[4] = actual.y + '0';
		TX_BUFFER[5] = '\n';
		HAL_UART_Transmit(&huart3, TX_BUFFER, 6, 100);
		Map[actual.x][actual.y].visitado++;

		if (Map[actual.x][actual.y].visitado == 1) {
			runMotor(OFF, MOTOR_A);
			runMotor(OFF, MOTOR_B);
			CreateNode(&Map[actual.x][actual.y], Sensors, direcciones,
					maxDistance);
			if (q == 1) {
				Map[actual.x][actual.y].Lados[direcciones[ATRAS]] = 1;
				q = 0;
			}
		}

		intUartSend(Map[actual.x][actual.y].Lados[DERECHA]);
		intUartSend(Map[actual.x][actual.y].Lados[ADELANTE]);
		intUartSend(Map[actual.x][actual.y].Lados[IZQUIERDA]);
		intUartSend(Map[actual.x][actual.y].Lados[ATRAS]);
		/*TX_BUFFER[0] = 'D';
		 TX_BUFFER[1] = Map[actual.x][actual.y].Lados[DERECHA] + '0';
		 TX_BUFFER[2] = '\n';
		 TX_BUFFER[3] = 'C';
		 TX_BUFFER[4] = Map[actual.x][actual.y].Lados[ADELANTE] + '0';
		 TX_BUFFER[5] = '\n';
		 TX_BUFFER[6] = 'I';
		 TX_BUFFER[7] = Map[actual.x][actual.y].Lados[IZQUIERDA] + '0';
		 TX_BUFFER[8] = '\n';
		 TX_BUFFER[9] = 'A';
		 TX_BUFFER[10] = Map[actual.x][actual.y].Lados[ATRAS] + '0';
		 TX_BUFFER[11] = '\n';
		 HAL_UART_Transmit(&huart1, TX_BUFFER, 12, 100);
		 */
		valueCNY = NEGRO;			//Sensors[0];
		if (valueCNY == BLANCO) {
			Map[actual.x][actual.y].final = 1;
			finishFlag = 1;
		} else {
			Map[actual.x][actual.y].final = 0;
			robotState = CHOOSING;
		}
		//PrintMap();
		//HAL_Delay(1000);
		break;
	case CHOOSING:
		movimiento = ChooseNextNode(actual.x, actual.y);
		TX_BUFFER[0] = 'M';
		TX_BUFFER[1] = movimiento + '0';
		TX_BUFFER[2] = '\n';
		HAL_UART_Transmit(&huart3, TX_BUFFER, 3, 100);

		TX_BUFFER[0] = '*';
		TX_BUFFER[1] = '*';
		TX_BUFFER[2] = '\n';
		HAL_UART_Transmit(&huart3, TX_BUFFER, 3, 100);
		movimientoFlag = 0;
		ticksNow = HAL_GetTick();
		robotState = MOVING;

		break;
	case MOVING:
		//TX_BUFFER[0] = 'M';
		//HAL_UART_Transmit(&huart1, TX_BUFFER, sizeof(TX_BUFFER), 100);
		HAL_GPIO_WritePin(GPIOC, GPIO_PIN_13, GPIO_PIN_RESET);
		movementMachine(movimiento);
		if (movimientoFlag == 1) {
			robotState = READING;
			//HAL_GPIO_WritePin(GPIOB, GPIO_PIN_15, GPIO_PIN_RESET);
		}
		break;
	}
}

void runDirections(char moves[100]) {
	if (moves[m] == 'a') {
		movementMachine(ADELANTE);
	} else if (moves[m] == 'd') {
		movementMachine(DERECHA);
	} else if (moves[m] == 'i') {
		movementMachine(IZQUIERDA);
	} else if (moves[m] == 'o') {
		movementMachine(OFF);
	} else {
		movementMachine(SUPER);
	}
	TX_BUFFER[0] = moves[m];
	HAL_UART_Transmit(&huart3, TX_BUFFER, 1, 100);
	if (movimientoFlag == 1) {
		m++;
		movimientoFlag = 0;
	}
}

void addDirection(int x, int y) {
	if (Map[x][y].Lados[direcciones[ADELANTE]] != 1) {
		//Map[x][y].Lados[direcciones[ADELANTE]] = 2;
		moveNode(direcciones[ADELANTE], &actual);
		directions[directionsSize] = 'a';
	} else if (Map[x][y].Lados[direcciones[IZQUIERDA]] != 1) {
		//Map[x][y].Lados[direcciones[IZQUIERDA]] = 2;
		moveNode(direcciones[IZQUIERDA], &actual);
		rotateAxis(IZQUIERDA, direcciones);
		directions[directionsSize] = 'i';
	} else if (Map[x][y].Lados[direcciones[DERECHA]] != 1) {
		//Map[x][y].Lados[direcciones[DERECHA]] = 2;
		moveNode(direcciones[DERECHA], &actual);
		rotateAxis(DERECHA, direcciones);
		directions[directionsSize] = 'd';
	}
	intUartSend(Map[x][y].Lados[direcciones[ADELANTE]]);
	intUartSend(Map[x][y].Lados[direcciones[IZQUIERDA]]);
	intUartSend(Map[x][y].Lados[direcciones[DERECHA]]);
	TX_BUFFER[0] = 'D';
	TX_BUFFER[1] = directions[directionsSize];
	TX_BUFFER[2] = '\n';
	HAL_UART_Transmit(&huart3, TX_BUFFER, 3, 100);
	directionsSize++;
}

int ChooseNextNode(int x, int y) {
	if (Map[x][y].Lados[direcciones[ADELANTE]] == 0) {
		TX_BUFFER[0] = 'A';
		TX_BUFFER[1] = '\n';
		HAL_UART_Transmit(&huart3, TX_BUFFER, 2, 100);
		Map[x][y].Lados[direcciones[ADELANTE]] = 2;
		/*if (Map[x][y].visitado > 1) {
		 EliminateNode(&Map[actual.x][actual.y], &Map[last.x][last.y],
		 direcciones[ATRAS]);
		 intUartSend(5000);
		 }*/
		if (Map[x][y].Lados[direcciones[ATRAS]] != 1)
			Map[x][y].Lados[direcciones[ATRAS]] = 2;
		last.x = actual.x;
		last.y = actual.y;
		intUartSend(Map[actual.x][actual.y].Lados[DERECHA]);
		intUartSend(Map[actual.x][actual.y].Lados[ADELANTE]);
		intUartSend(Map[actual.x][actual.y].Lados[IZQUIERDA]);
		intUartSend(Map[actual.x][actual.y].Lados[ATRAS]);
		moveNode(direcciones[ADELANTE], &actual);
		return ADELANTE;
	} else if (Map[x][y].Lados[direcciones[IZQUIERDA]] == 0) {
		TX_BUFFER[0] = 'I';
		TX_BUFFER[1] = '\n';
		HAL_UART_Transmit(&huart3, TX_BUFFER, 2, 100);
		Map[x][y].Lados[direcciones[IZQUIERDA]] = 2;
		/*if (Map[x][y].visitado > 1) {
		 EliminateNode(&Map[actual.x][actual.y], &Map[last.x][last.y],
		 direcciones[ATRAS]);
		 intUartSend(5000);
		 }*/
		if (Map[x][y].Lados[direcciones[ATRAS]] != 1) {
		 Map[x][y].Lados[direcciones[ATRAS]] = 2;
		 }
		last.x = actual.x;
		last.y = actual.y;
		intUartSend(Map[x][y].Lados[DERECHA]);
		intUartSend(Map[x][y].Lados[ADELANTE]);
		intUartSend(Map[x][y].Lados[IZQUIERDA]);
		intUartSend(Map[x][y].Lados[ATRAS]);
		moveNode(direcciones[IZQUIERDA], &actual);
		rotateAxis(IZQUIERDA, direcciones);
		return IZQUIERDA;
	} else if (Map[x][y].Lados[direcciones[DERECHA]] == 0) {
		TX_BUFFER[0] = 'D';
		TX_BUFFER[1] = '\n';
		HAL_UART_Transmit(&huart3, TX_BUFFER, 2, 100);

		/*if (Map[x][y].visitado > 1) {
		 EliminateNode(&Map[actual.x][actual.y], &Map[last.x][last.y],
		 direcciones[ATRAS]);
		 intUartSend(5000);
		 }*/
		Map[x][y].Lados[direcciones[DERECHA]] = 2;
		if (Map[x][y].Lados[direcciones[ATRAS]] != 1) {
		 intUartSend(Map[x][y].Lados[direcciones[ATRAS]]);
		 Map[x][y].Lados[direcciones[ATRAS]] = 2;
		 }
		last.x = actual.x;
		last.y = actual.y;
		intUartSend(Map[actual.x][actual.y].Lados[DERECHA]);
		intUartSend(Map[actual.x][actual.y].Lados[ADELANTE]);
		intUartSend(Map[actual.x][actual.y].Lados[IZQUIERDA]);
		intUartSend(Map[actual.x][actual.y].Lados[ATRAS]);
		moveNode(direcciones[DERECHA], &actual);
		rotateAxis(DERECHA, direcciones);
		return DERECHA;
	} else {
		TX_BUFFER[0] = 'O';
		TX_BUFFER[1] = '\n';
		HAL_UART_Transmit(&huart3, TX_BUFFER, 2, 100);
		return SearchAvailableNode(x, y);
	}

}

int SearchAvailableNode(int x, int y) {
	if (Map[x][y].Lados[direcciones[ADELANTE]] != 1) {
		//Serial.println("Adelante1");

		/*if (Map[x][y].visitado > 1) {
		 EliminateNode(&Map[actual.x][actual.y], &Map[last.x][last.y],
		 direcciones[ATRAS]);
		 intUartSend(4000);
		 }*/
		last.x = actual.x;
		last.y = actual.y;
		intUartSend(Map[actual.x][actual.y].Lados[DERECHA]);
		intUartSend(Map[actual.x][actual.y].Lados[ADELANTE]);
		intUartSend(Map[actual.x][actual.y].Lados[IZQUIERDA]);
		intUartSend(Map[actual.x][actual.y].Lados[ATRAS]);
		moveNode(direcciones[ADELANTE], &actual);

		return ADELANTE;
	} else if (Map[x][y].Lados[direcciones[IZQUIERDA]] != 1) {
		//Serial.println("IZQUIERDA1");l
		//moveNode(IZQUIERDA);
		//rotateAxis(IZQUIERDA);
		/*if (Map[x][y].visitado > 1) {
		 EliminateNode(&Map[actual.x][actual.y], &Map[last.x][last.y],
		 direcciones[ATRAS]);
		 intUartSend(4000);
		 }*/
		last.x = actual.x;
		last.y = actual.y;
		intUartSend(Map[actual.x][actual.y].Lados[DERECHA]);
		intUartSend(Map[actual.x][actual.y].Lados[ADELANTE]);
		intUartSend(Map[actual.x][actual.y].Lados[IZQUIERDA]);
		intUartSend(Map[actual.x][actual.y].Lados[ATRAS]);
		moveNode(direcciones[IZQUIERDA], &actual);

		rotateAxis(IZQUIERDA, direcciones);
		return IZQUIERDA;
	} else if (Map[x][y].Lados[direcciones[DERECHA]] != 1) {
		//Serial.println("DERECHA1");
		/*if (Map[x][y].visitado > 1) {
		 EliminateNode(&Map[actual.x][actual.y], &Map[last.x][last.y],
		 direcciones[ATRAS]);
		 intUartSend(4000);
		 }*/
		last.x = actual.x;
		last.y = actual.y;
		intUartSend(Map[actual.x][actual.y].Lados[DERECHA]);
		intUartSend(Map[actual.x][actual.y].Lados[ADELANTE]);
		intUartSend(Map[actual.x][actual.y].Lados[IZQUIERDA]);
		intUartSend(Map[actual.x][actual.y].Lados[ATRAS]);
		moveNode(direcciones[DERECHA], &actual);
		rotateAxis(DERECHA, direcciones);
		return DERECHA;
	} else if (Map[x][y].Lados[direcciones[ATRAS]] != 1) {
		last.x = actual.x;
		last.y = actual.y;
		intUartSend(Map[actual.x][actual.y].Lados[DERECHA]);
		intUartSend(Map[actual.x][actual.y].Lados[ADELANTE]);
		intUartSend(Map[actual.x][actual.y].Lados[IZQUIERDA]);
		intUartSend(Map[actual.x][actual.y].Lados[ATRAS]);
		//Map[x][y].Lados[direcciones[ATRAS]] = 2;
		moveNode(direcciones[ATRAS], &actual);

		rotateAxis(DERECHA, direcciones);
		rotateAxis(DERECHA, direcciones);
		return ATRAS;
	}
	return 0;
}
/*void moveNode(int lado) {
 switch (lado) {
 case ADELANTE:
 //if (visual.y != ALTO - 1) {
 actual.y++;
 //visual.y++;
 //}
 break;
 case IZQUIERDA:
 //if (visual.x != 0) {
 actual.x--;
 //visual.x--;
 //}
 break;
 case DERECHA:
 // if (visual.x != ANCHO - 1) {
 actual.x++;
 // visual.x++;
 // }
 break;
 case ATRAS:
 // if (visual.y != 0) {
 actual.y--;
 // visual.y--;
 // }

 break;
 }
 }*/

/*void movementMachine(int move) {
 switch (movementState) {
 case OFF:
 runMotor(OFF, MOTOR_A);
 runMotor(OFF, MOTOR_B);
 if (move != OFF) {
 movementState = move;
 TIM3->CNT = 0;
 TIM4->CNT = 0;
 }
 break;
 case ADELANTE:
 tick = HAL_GetTick();
 intUartSend(tick);
 if (ticksNow + TimerForward[choice] > tick) {
 moveStraight();
 runMotor(ADELANTE, MOTOR_A);
 runMotor(ADELANTE, MOTOR_B);
 } else {
 movimientoFlag = 1;
 movementState = OFF;
 runMotor(OFF, MOTOR_A);
 runMotor(OFF, MOTOR_B);
 TIM3->CNT = 0;
 TIM4->CNT = 0;
 offset = 0;
 }
 break;
 case IZQUIERDA:
 tick = HAL_GetTick();
 TIM2->CCR3 = baseChoice[choice];
 TIM2->CCR4 = baseChoice[choice];
 if (ticksNow + TimerLeft[choice] > tick) {
 runMotor(ATRAS, MOTOR_A);
 runMotor(ADELANTE, MOTOR_B);
 } else {
 movementState = ADELANTE;
 ticksNow = HAL_GetTick();
 runMotor(OFF, MOTOR_A);
 runMotor(OFF, MOTOR_B);
 TIM3->CNT = 0;
 TIM4->CNT = 0;
 offset = 30;
 }
 break;
 case DERECHA:
 tick = HAL_GetTick();
 TIM2->CCR3 = baseChoice[choice];
 TIM2->CCR4 = baseChoice[choice];
 if (ticksNow + TimerRight[choice] > tick) {
 runMotor(ADELANTE, MOTOR_A);
 runMotor(ATRAS, MOTOR_B);
 } else {
 movementState = ADELANTE;
 ticksNow = HAL_GetTick();
 runMotor(OFF, MOTOR_A);
 runMotor(OFF, MOTOR_B);
 TIM3->CNT = 0;
 TIM4->CNT = 0;
 offset = 30;
 }
 break;
 case ATRAS:
 tick = HAL_GetTick();
 TIM2->CCR3 = baseChoice[choice];
 TIM2->CCR4 = baseChoice[choice];
 if (ticksNow + TimerRight[choice] * 2 > tick) {
 runMotor(ADELANTE, MOTOR_A);
 runMotor(ATRAS, MOTOR_B);
 } else {
 ticksNow = HAL_GetTick();
 movementState = ADELANTE;
 runMotor(OFF, MOTOR_A);
 runMotor(OFF, MOTOR_B);
 TIM3->CNT = 0;
 TIM4->CNT = 0;
 offset = 30;
 }
 break;
 }
 }*/
/*void movementMachine(int move) {
 switch (movementState) {
 case OFF:
 runMotor(OFF, MOTOR_A);
 runMotor(OFF, MOTOR_B);
 if (move != OFF) {
 movementState = move;
 if (move != ADELANTE) {
 TIM3->CNT = 0;
 TIM1->CNT = 0;
 }
 //intUartSend(TIM3->CNT);
 }
 break;
 case ADELANTE:
 //TIM4->CCR3 = xSpeed;
 //TIM4->CCR4 = xSpeed;
 //intUartSend(calcularDistancia((TIM1->CNT)));
 intUartSend(TIM3->CNT);
 if ((calcularDistancia((TIM3->CNT)) < forwardChoice[choice] / 5 + offset)
 || (calcularDistancia((TIM1->CNT))
 < forwardChoice[choice] / 5 + offset) && Sensors[2] > 5) {
 //moveStraight();
 StraightFlag = 1;
 intUartSend(1);
 xSpeed = (calcularDistancia(TIM3->CNT) - offset)
 * (((baseChoice[choice]) - ((baseChoice[choice]) / 3))
 / (forwardChoice[choice] / 5))
 + (baseChoice[choice]) / 3;
 runMotor(ADELANTE, MOTOR_A);
 runMotor(ADELANTE, MOTOR_B);
 } else if ((calcularDistancia((TIM3->CNT))
 < forwardChoice[choice] * (4 / 5) + offset)
 || (calcularDistancia((TIM1->CNT))
 < forwardChoice[choice] * (4 / 5) + offset)) {
 xSpeed = baseChoice[choice];
 runMotor(ADELANTE, MOTOR_A);
 runMotor(ADELANTE, MOTOR_B);
 intUartSend(2);
 } else if ((calcularDistancia((TIM3->CNT))
 < forwardChoice[choice] + offset)
 || (calcularDistancia((TIM1->CNT))
 < forwardChoice[choice] + offset)) {
 xSpeed = baseChoice[choice]
 - ((calcularDistancia((TIM1->CNT)) - offset)
 * (baseChoice[choice] / forwardChoice[choice])
 - baseChoice[choice] / 1.8);
 runMotor(ADELANTE, MOTOR_A);
 runMotor(ADELANTE, MOTOR_B);
 intUartSend(3);
 } else {
 StraightFlag = 0;
 movimientoFlag = 1;
 movementState = OFF;
 runMotor(OFF, MOTOR_A);
 runMotor(OFF, MOTOR_B);
 //TIM3->CNT = 0;
 //TIM1->CNT = 0;
 offset = calcularDistancia((TIM3->CNT));
 //intUartSend(10);
 }
 break;
 case IZQUIERDA:
 TIM4->CCR3 = baseChoice[choice]
 - (calcularDistancia((TIM3->CNT))
 * (baseChoice[choice] / LeftChoice[choice])
 - baseChoice[choice] / 1.8);
 TIM4->CCR4 = baseChoice[choice]
 - (calcularDistancia((TIM3->CNT))
 * (baseChoice[choice] / LeftChoice[choice])
 - baseChoice[choice] / 1.8);
 //intUartSend((TIM3->CNT));
 if (calcularDistancia((TIM3->CNT)) < LeftChoice[choice]) {
 runMotor(ADELANTE, MOTOR_A);
 runMotor(ATRAS, MOTOR_B);
 } else {
 movementState = ADELANTE;
 runMotor(OFF, MOTOR_A);
 runMotor(OFF, MOTOR_B);
 TIM3->CNT = 0;
 TIM1->CNT = 0;
 offset = 0;
 //intUartSend(9);
 }
 break;
 case DERECHA:
 TIM4->CCR3 = baseChoice[choice]
 - (calcularDistancia((TIM1->CNT))
 * (baseChoice[choice] / RightChoice[choice])
 - baseChoice[choice] / 1.8);
 TIM4->CCR4 = baseChoice[choice]
 - (calcularDistancia((TIM1->CNT))
 * (baseChoice[choice] / RightChoice[choice])
 - baseChoice[choice] / 1.8);
 if (calcularDistancia((TIM1->CNT)) < RightChoice[choice]) {
 runMotor(ATRAS, MOTOR_A);
 runMotor(ADELANTE, MOTOR_B);
 //intUartSend("HOLA");
 } else {
 movementState = ADELANTE;
 runMotor(OFF, MOTOR_A);
 runMotor(OFF, MOTOR_B);
 TIM3->CNT = 0;
 TIM1->CNT = 0;
 offset = 0;
 //intUartSend(8);
 }
 break;
 case ATRAS:
 TIM4->CCR3 = baseChoice[choice];
 TIM4->CCR4 = baseChoice[choice];
 if (calcularDistancia((TIM1->CNT)) < RightChoice[choice] * 2) {
 runMotor(ATRAS, MOTOR_A);
 runMotor(ADELANTE, MOTOR_B);
 } else {
 movementState = ADELANTE;
 runMotor(OFF, MOTOR_A);
 runMotor(OFF, MOTOR_B);
 TIM3->CNT = 0;
 TIM1->CNT = 0;
 offset = 0;
 //intUartSend(7);
 }
 break;

 }
 }*/

/*void CreateNode(int x, int y) {
 Map[x][y].Lados[direcciones[ADELANTE]] = lecturaSensor(ADELANTE, Sensors, maxDistance);
 Map[x][y].Lados[direcciones[IZQUIERDA]] = lecturaSensor(IZQUIERDA, Sensors, maxDistance);
 Map[x][y].Lados[direcciones[DERECHA]] = lecturaSensor(DERECHA, Sensors, maxDistance);
 Map[x][y].Lados[direcciones[ATRAS]] = lecturaSensor(ATRAS, Sensors, maxDistance);
 */

/*void rotateAxis(int direccion) {
 switch (direccion) {
 case DERECHA:
 for (int i = 0; i < 4; i++) {
 direcciones[i] = direcciones[i] - 1;
 if (direcciones[i] == -1) {
 direcciones[i] = 3;
 }
 }
 break;
 case IZQUIERDA:
 for (int j = 0; j < 4; j++) {
 direcciones[j] = direcciones[j] + 1;
 if (direcciones[j] == 4) {
 direcciones[j] = 0;
 }
 }
 break;
 }
 }

 void resetAxis() {
 for (int i = 0; i < 4; i++) {
 direcciones[i] = i;
 }
 }*/

void PrintMap() {
	for (int i = 0; i < alto; i++) {
		for (int j = 0; j < ancho; j++) {
			//SerialBT.print(Map[i][j].visitado);
			//SerialBT.print(" ");
			TX_BUFFER[0] = Map[i][j].visitado + '0';
			TX_BUFFER[1] = ' ';
			HAL_UART_Transmit(&huart3, TX_BUFFER, 2, 100);
		}
		TX_BUFFER[0] = '\n';
		HAL_UART_Transmit(&huart3, TX_BUFFER, 1, 100);
	}
}

// Called when buffer is completely filled
void HAL_ADC_ConvCpltCallback(ADC_HandleTypeDef *hadc) {
	for (int i = 0; i < 100; i++) {
		CNY70[i] = adc_buf[i * 4];
		SHARP_1[i] = adc_buf[i * 4 + 1];
		SHARP_2[i] = adc_buf[i * 4 + 2];
		SHARP_3[i] = adc_buf[i * 4 + 3];
	}
	Sensors[0] = lecturaCNY70(100, CNY70);
	Sensors[1] = lecSensor(100, SHARP_1);
	Sensors[2] = lecSensor(100, SHARP_2);
	Sensors[3] = lecSensor(100, SHARP_3);

}

uint32_t MAP(uint32_t au32_IN, uint32_t au32_INmin, uint32_t au32_INmax,
		uint32_t au32_OUTmin, uint32_t au32_OUTmax) {
	return ((((au32_IN - au32_INmin) * (au32_OUTmax - au32_OUTmin))
			/ (au32_INmax - au32_INmin)) + au32_OUTmin);
}

int constrain(int x, int a, int b) {
	if (x < a) {
		return a;
	} else if (b < x) {
		return b;
	} else
		return x;
}

void btnMachine(int index) {
	switch (btns[index].estado) {
	case ESPERA:
		btns[index].flag = 0;
		lecturaBtn = HAL_GPIO_ReadPin(btns[index].Port, btns[index].pin);
		if (lecturaBtn == 0) {
			ticks = HAL_GetTick();
			btns[index].estado = CONFIRMACION;
		}
		break;

	case CONFIRMACION:
		lecturaBtn = HAL_GPIO_ReadPin(btns[index].Port, btns[index].pin);
		if (lecturaBtn == 0 && HAL_GetTick() >= ticks + TICKS_BTN) {
			btns[index].estado = LIBERACION;
		}

		if (lecturaBtn == 1 && ticks < TICKS_BTN) {
			btns[index].estado = ESPERA;
		}
		break;

	case LIBERACION:
		lecturaBtn = HAL_GPIO_ReadPin(btns[index].Port, btns[index].pin);
		if (lecturaBtn == 1) {
			btns[index].flag = 1;
			btns[index].estado = ESPERA;
		}
		break;
	}
}

/* USER CODE END 4 */

void Error_Handler(void)
{
	__disable_irq();
	while (1) {
	}
}
